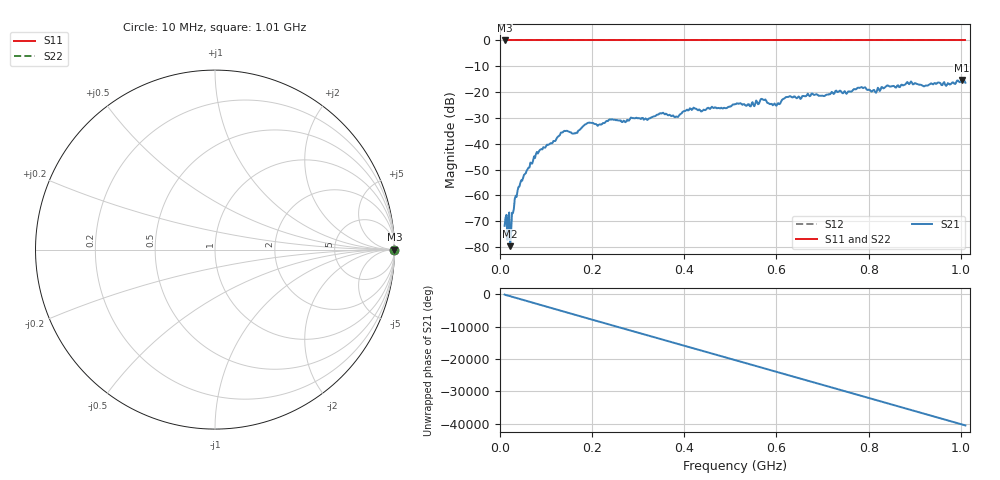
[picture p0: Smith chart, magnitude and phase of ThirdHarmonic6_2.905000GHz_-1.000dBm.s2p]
! 8/17/2025 8:02:25 AM
! C:\ANRITSUVNA\TEMP\TEMP.S2P
! CHANNEL.1
! TR.MEASUREMENT
! RAW.DATA
! RF.CORRECTION.OFF
! AVERAGING.OFF
! IF.BANDWIDTH: 5KHZ
! SWEEPTYPE:  FREQ.SWEEP(Linear)
! Reference Plane Port Info
! PORT:  PORT1  PORT2
! DISTANCE:  0  m  0  m
! TIME:  0  s  0  s
! PHASE.OFFSET:  0  deg.  0  deg.
! LOSS:  0  dB  0  dB
! REF.LOSS:  0  dB  0  dB
! REF.FREQ:  0  Hz  0  Hz
! Power Info
! POWER:  -20  dBm  -20  dBm
! EFF.POWER:  -20  dBm  -20  dBm
! SOURCE.ATTEN:  0  dB  0  dB
! TEST.ATTEN:  0  dB  0  dB
# GHZ S RI R 50.0
! FREQ.GHZ  S11RE  S11IM  S21RE  S21IM  S12RE  S12IM  S22RE  S22IM
!; PortSelection: Port_12
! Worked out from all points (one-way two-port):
!   501 points, 10 MHz to 1.01 GHz, reference 50 ohm
!   highest |S21| = -15.27 dB at 1.002 GHz (marker M1); lowest = -79.6 dB at 22 MHz (marker M2)
!   lowest |S11| = 0.0 dB at 10 MHz (marker M3)
!   |S11| at or under -10 dB: nowhere
!   |S22| runs from 0.0 to 0.0 dB; largest |S21 - S12| = 1.2
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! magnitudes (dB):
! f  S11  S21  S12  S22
! 10 MHz  0.0  -71.7  0.0  0.0
! 16 MHz  0.0  -77.2  0.0  0.0
! 20 MHz  0.0  -66.6  0.0  0.0
! 22 MHz  0.0  -79.6  0.0  0.0
! 26 MHz  0.0  -66.7  0.0  0.0
! 30 MHz  0.0  -65.3  0.0  0.0
! 42 MHz  0.0  -56.6  0.0  0.0
! 78 MHz  0.0  -44.0  0.0  0.0
! 136 MHz  0.0  -35.6  0.0  0.0
! 164 MHz  0.0  -35.9  0.0  0.0
! 178 MHz  0.0  -33.7  0.0  0.0
! 344 MHz  0.0  -28.7  0.0  0.0
! 382 MHz  0.0  -29.4  0.0  0.0
! 416 MHz  0.0  -26.9  0.0  0.0
! 510 MHz  0.0  -24.7  0.0  0.0
! 570 MHz  0.0  -22.8  0.0  0.0
! 596 MHz  0.0  -24.4  0.0  0.0
! 624 MHz  0.0  -21.9  0.0  0.0
! 678 MHz  0.0  -20.6  0.0  0.0
! 844 MHz  0.0  -17.7  0.0  0.0
! 1.002 GHz  0.0  -15.3  0.0  0.0
! 1.01 GHz  0.0  -16.4  0.0  0.0
